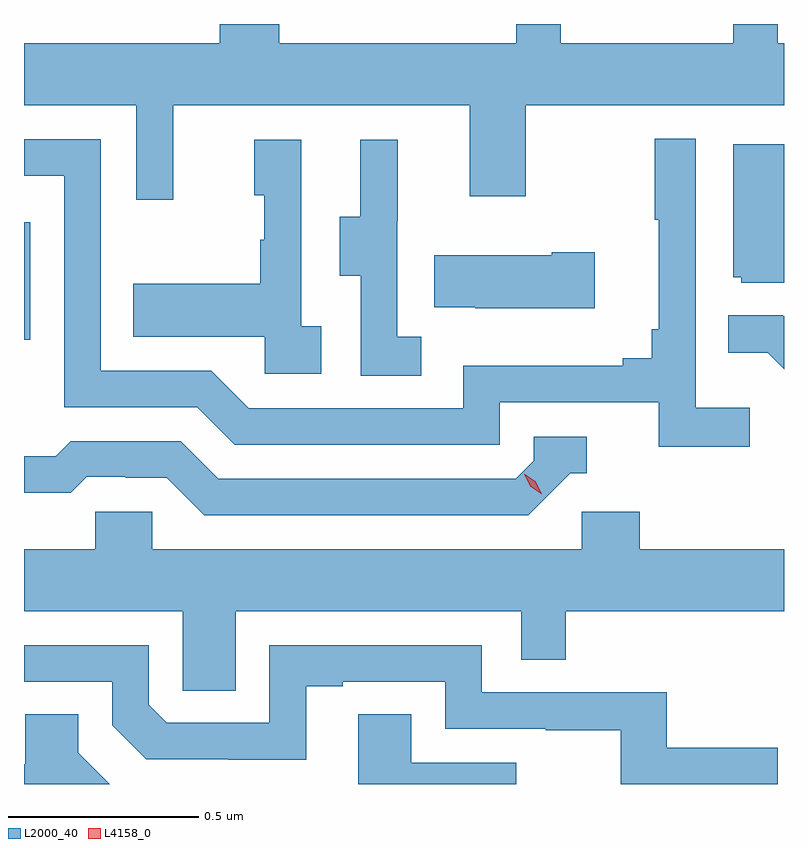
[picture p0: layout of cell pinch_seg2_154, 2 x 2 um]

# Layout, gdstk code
import gdstk
lib = gdstk.Library(unit=1e-6, precision=1e-09)
def R(c, l, rs):  # rectangles x0, y0, x1, y1
    for r in rs: c.add(gdstk.rectangle(r[:2], r[2:], *l))
def P(c, l, *ps):  # polygons
    for p in ps: c.add(gdstk.Polygon(p, *l))
L2000_40 = (2000, 40)
L4158_0 = (4158, 0)

pinch_seg2_154 = lib.new_cell('pinch_seg2_154')
R(pinch_seg2_154, L2000_40, [(1103.648,637.695,1103.664,638.004)])
P(pinch_seg2_154, L2000_40, [(1104.041,638.312),(1104.821,638.312),(1104.821,638.073),(1104.969,638.073),(1104.969,638.312),(1105.648,638.312),(1105.648,638.476),(1105.631,638.476),(1105.631,638.526),(1105.514,638.526),(1105.514,638.476),(1105.061,638.476),(1105.061,638.526),(1104.943,638.526),(1104.943,638.476),(1104.32,638.476),(1104.32,638.526),(1104.163,638.526),(1104.163,638.476),(1103.648,638.476),(1103.648,638.312),(1103.943,638.312),(1103.943,638.064),(1104.041,638.064)],
  [(1105.558,637.516),(1105.416,637.516),(1105.416,638.224),(1105.308,638.224),(1105.308,638.011),(1105.319,638.011),(1105.319,637.723),(1105.3,637.723),(1105.3,637.646),(1105.223,637.646),(1105.223,637.627),(1104.804,637.627),(1104.804,637.515),(1104.24,637.515),(1104.141,637.614),(1103.85,637.614),(1103.85,638.223),(1103.648,638.223),(1103.648,638.127),(1103.754,638.127),(1103.754,637.518),(1104.104,637.518),(1104.203,637.419),(1104.9,637.419),(1104.9,637.53),(1105.319,637.53),(1105.319,637.414),(1105.558,637.414)],
  [(1104.694,637.703),(1104.63,637.703),(1104.63,638.007),(1104.632,638.007),(1104.632,638.221),(1104.533,638.221),(1104.533,638.019),(1104.479,638.019),(1104.479,637.864),(1104.534,637.864),(1104.534,637.6),(1104.694,637.6)],
  [(1104.43,637.73),(1104.378,637.73),(1104.378,638.221),(1104.254,638.221),(1104.254,638.076),(1104.28,638.076),(1104.28,637.958),(1104.27,637.958),(1104.27,637.843),(1103.935,637.843),(1103.935,637.703),(1104.282,637.703),(1104.282,637.605),(1104.43,637.605)],
  [(1105.648,638.209),(1105.514,638.209),(1105.514,637.86),(1105.536,637.86),(1105.536,637.845),(1105.648,637.845)],
  [(1105.15,637.926),(1105.037,637.926),(1105.037,637.918),(1104.727,637.918),(1104.727,637.781),(1104.835,637.781),(1104.835,637.778),(1105.15,637.778)],
  [(1105.648,637.757),(1105.645,637.76),(1105.501,637.76),(1105.501,637.661),(1105.605,637.661),(1105.648,637.618)],
  [(1105.086,637.344),(1105.129,637.344),(1105.129,637.44),(1104.99,637.44),(1104.99,637.377),(1104.942,637.329),(1104.159,637.329),(1104.06,637.428),(1103.771,637.428),(1103.732,637.389),(1103.648,637.389),(1103.648,637.293),(1103.771,637.293),(1103.813,637.335),(1103.916,637.335),(1103.916,637.332),(1104.023,637.332),(1104.122,637.233),(1104.975,637.233)],
  [(1104.205,636.98),(1104.957,636.98),(1104.957,636.853),(1105.073,636.853),(1105.073,636.98),(1105.648,636.98),(1105.648,637.144),(1105.268,637.144),(1105.268,637.242),(1105.116,637.242),(1105.116,637.144),(1103.985,637.144),(1103.985,637.242),(1103.835,637.242),(1103.835,637.144),(1103.648,637.144),(1103.648,636.98),(1104.066,636.98),(1104.066,636.772),(1104.205,636.772)],
  [(1105.632,636.622),(1105.339,636.622),(1105.339,636.768),(1104.852,636.768),(1104.852,636.891),(1104.294,636.891),(1104.294,636.687),(1104.024,636.687),(1103.976,636.735),(1103.976,636.891),(1103.648,636.891),(1103.648,636.795),(1103.88,636.795),(1103.88,636.681),(1103.97,636.591),(1104.186,636.591),(1104.186,636.59),(1104.391,636.59),(1104.391,636.783),(1104.487,636.783),(1104.487,636.795),(1104.756,636.795),(1104.756,636.672),(1105.021,636.672),(1105.021,636.667),(1105.218,636.667),(1105.218,636.526),(1105.632,636.526)],
  [(1103.791,636.608),(1103.791,636.71),(1103.651,636.71),(1103.651,636.578),(1103.648,636.578),(1103.648,636.526),(1103.873,636.526)],
  [(1104.944,636.582),(1104.667,636.582),(1104.667,636.71),(1104.527,636.71),(1104.527,636.526),(1104.944,636.526)])
P(pinch_seg2_154, L4158_0, [(1105.011,637.289),(1104.98,637.309),(1104.964,637.342),(1104.964,637.342),(1104.965,637.342),(1104.995,637.322),(1105.011,637.289),(1105.011,637.289)])

lib.write_gds('pinch_seg2_154.gds')
